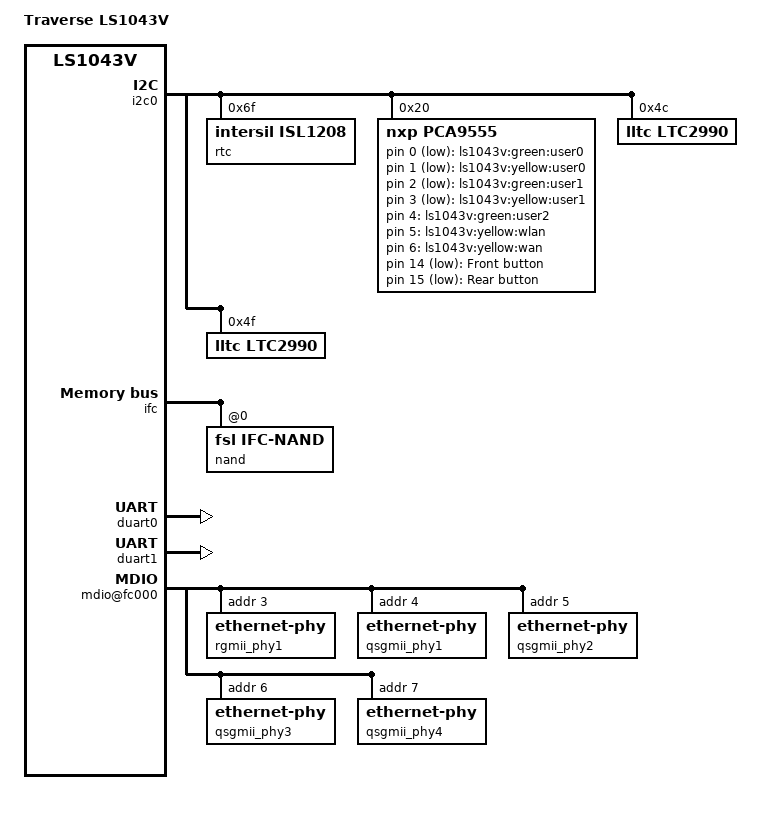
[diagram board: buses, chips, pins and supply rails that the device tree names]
/*
 * Device Tree Include file for Traverse LS1043V board.
 *
 * Copyright 2014-2015, Freescale Semiconductor
 * Copyright 2017, Traverse Technologies
 *
 * This file is dual-licensed: you can use it either under the terms
 * of the GPLv2 or the X11 license, at your option. Note that this dual
 * licensing only applies to this file, and not this project as a
 * whole.
 *
 *  a) This library is free software; you can redistribute it and/or
 *     modify it under the terms of the GNU General Public License as
 *     published by the Free Software Foundation; either version 2 of the
 *     License, or (at your option) any later version.
 *
 *     This library is distributed in the hope that it will be useful,
 *     but WITHOUT ANY WARRANTY; without even the implied warranty of
 *     MERCHANTABILITY or FITNESS FOR A PARTICULAR PURPOSE.  See the
 *     GNU General Public License for more details.
 *
 * Or, alternatively,
 *
 *  b) Permission is hereby granted, free of charge, to any person
 *     obtaining a copy of this software and associated documentation
 *     files (the "Software"), to deal in the Software without
 *     restriction, including without limitation the rights to use,
 *     copy, modify, merge, publish, distribute, sublicense, and/or
 *     sell copies of the Software, and to permit persons to whom the
 *     Software is furnished to do so, subject to the following
 *     conditions:
 *
 *     The above copyright notice and this permission notice shall be
 *     included in all copies or substantial portions of the Software.
 *
 *     THE SOFTWARE IS PROVIDED "AS IS", WITHOUT WARRANTY OF ANY KIND,
 *     EXPRESS OR IMPLIED, INCLUDING BUT NOT LIMITED TO THE WARRANTIES
 *     OF MERCHANTABILITY, FITNESS FOR A PARTICULAR PURPOSE AND
 *     NONINFRINGEMENT. IN NO EVENT SHALL THE AUTHORS OR COPYRIGHT
 *     HOLDERS BE LIABLE FOR ANY CLAIM, DAMAGES OR OTHER LIABILITY,
 *     WHETHER IN AN ACTION OF CONTRACT, TORT OR OTHERWISE, ARISING
 *     FROM, OUT OF OR IN CONNECTION WITH THE SOFTWARE OR THE USE OR
 *     OTHER DEALINGS IN THE SOFTWARE.
 */

/dts-v1/;
#include "fsl-ls1043a.dtsi"
#include <dt-bindings/gpio/gpio.h>
#include <dt-bindings/input/input.h>

/ {
	model = "Traverse LS1043V";
	compatible = "traverse,ls1043v";

	aliases {
		crypto = &crypto;
		ethernet0 = &EMAC0;
		ethernet1 = &EMAC1;
		ethernet2 = &EMAC2;
		ethernet3 = &EMAC3;
		ethernet4 = &EMAC4;
		ethernet5 = &EMAC5;
		pca9555 = &pca9555;
	};

	leds {
		compatible = "gpio-leds";
		gpio0 {
			label = "ls1043v:green:user0";
			gpios = <&pca9555 0 GPIO_ACTIVE_LOW>;
		};
		gpio1 {
			label = "ls1043v:yellow:user0";
			gpios = <&pca9555 1 GPIO_ACTIVE_LOW>;
		};
		gpio2 {
			label = "ls1043v:green:user1";
			gpios = <&pca9555 2 GPIO_ACTIVE_LOW>;
		};
		gpio3 {
			label = "ls1043v:yellow:user1";
			gpios = <&pca9555 3 GPIO_ACTIVE_LOW>;
		};
		gpio4 {
			label = "ls1043v:green:user2";
			gpios = <&pca9555 4 GPIO_ACTIVE_HIGH>;
		};
		gpio5 {
			label = "ls1043v:yellow:wlan";
			gpios = <&pca9555 5 GPIO_ACTIVE_HIGH>;
		};
		gpio6 {
			label = "ls1043v:yellow:wan";
			gpios = <&pca9555 6 GPIO_ACTIVE_HIGH>;
		};
	};

	gpio-keys-polled {
		compatible = "gpio-keys-polled";
		#address-cells = <1>;
		#size-cells = <0>;
		poll-interval = <1000>;
		button@0 {
			label = "Front button";
			linux,code = <KEY_SETUP>;
			gpios = <&pca9555 14 GPIO_ACTIVE_LOW>;
		};
		button@1 {
			label = "Rear button";
			linux,code = <KEY_WPS_BUTTON>;
			gpios = <&pca9555 15 GPIO_ACTIVE_LOW>;
		};
	};
};

&i2c0 {
	status = "okay";
	rtc@6f {
		compatible = "intersil,isl1208";
		reg = <0x6f>;
	};

	pca9555: pca9555@20 {
		compatible = "nxp,pca9555";
		gpio-controller;
		#gpio-cells = <2>;
		reg = <0x20>;
		gpio-base = <0>;
	};

	/* CPU core temp sensor and VDD (1.0V) sensor */
	ltc2990@4c {
		compatible = "lltc,ltc2990";
		reg = <0x4C>;
		lltc,meas-mode = <4 3>;
	};

	/* 3.3V and 5V monitor (may not be loaded on some SKUs) */
	ltc2990@4f {
		compatible = "lltc,ltc2990";
		reg = <0x4F>;
		lltc,meas-mode = <6 3>;
	};
};

&ifc {
	status = "okay";
	#address-cells = <2>;
	#size-cells = <1>;
	/* Only NAND flash is used on this board */
	ranges = <0x0 0x0 0x0 0x7e800000 0x00010000>;

	nand@1,0 {
		compatible = "fsl,ifc-nand";
		#address-cells = <1>;
		#size-cells = <1>;
		reg = <0x0 0x0 0x10000>;
	};
};

&duart0 {
	status = "okay";
};

&duart1 {
	status = "okay";
};

#include "fsl-ls1043-post.dtsi"

&fman0 {
	EMAC0: ethernet@e0000 {
		phy-handle = <&qsgmii_phy1>;
		phy-connection-type = "qsgmii";
		local-mac-address = [0A 00 00 00 00 01];
	};

	EMAC1: ethernet@e2000 {
		phy-handle = <&qsgmii_phy2>;
		phy-connection-type = "qsgmii";
		local-mac-address = [0A 00 00 00 00 02];
	};

	EMAC2: ethernet@e8000 {
		phy-handle = <&qsgmii_phy3>;
		phy-connection-type = "qsgmii";
		local-mac-address = [0A 00 00 00 00 03];
	};

	EMAC3: ethernet@ea000 {
		phy-handle = <&qsgmii_phy4>;
		phy-connection-type = "qsgmii";
		local-mac-address = [0A 00 00 00 00 04];
	};
	EMAC4: ethernet@e4000 {
		phy-handle = <&rgmii_phy1>;
		phy-connection-type = "rgmii";
		local-mac-address = [0A 00 00 00 00 05];
	};

	/* Connection to VDSL SoC */
	EMAC5: ethernet@e6000 {
		phy-connection-type = "rgmii-id";
		local-mac-address = [00 00 00 00 00 06];
		fixed-link {
			speed = <1000>;
			full-duplex;
		};
	};

	/* 10G XFI interface - not in use on this platform */
	TENSFP: ethernet@f0000 {
		status = "disabled";

		phy-connection-type = "sgmii";
		fixed-link {
			/* NB: speed = 1000 and sgmii allows forward compatibility
			*  with both 1G and 10G, the same is not true
			*  in the reverse.
			*/
			speed = <1000>;
			full-duplex;
		};
	};

	mdio@fc000 {
		rgmii_phy1: ethernet-phy@3 {
			reg = <0x3>;
		};
		qsgmii_phy1: ethernet-phy@4 {
			reg = <0x4>;
		};
		qsgmii_phy2: ethernet-phy@5 {
			reg = <0x5>;
		};
		qsgmii_phy3: ethernet-phy@6 {
			reg = <0x6>;
		};
		qsgmii_phy4: ethernet-phy@7 {
			reg = <0x7>;
		};
	};
};

/* No QUICC engine functions on this board */
&uqe {
	status = "disabled";
};

/* No SATA/AHCI on this board */
&sata {
	status = "disabled";
};
